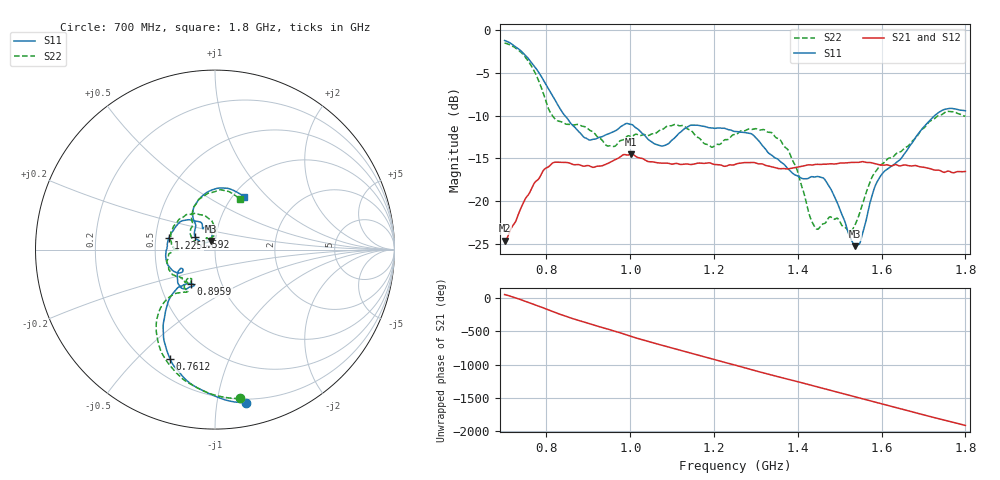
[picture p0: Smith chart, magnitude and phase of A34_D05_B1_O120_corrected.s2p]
! Created with skrf 1.9.0 (http://scikit-rf.org).
# Hz S RI R 50.0
!freq ReS11 ImS11 ReS21 ImS21 ReS12 ImS12 ReS22 ImS22
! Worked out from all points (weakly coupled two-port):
!   1601 points, 700 MHz to 1.8 GHz, reference 50 ohm
!   highest |S21| = -14.53 dB at 1.002 GHz (marker M1); lowest = -24.6 dB at 700 MHz (marker M2)
!   lowest |S11| = -25.3 dB at 1.537 GHz (marker M3), VSWR 1.12, Z = 47.4 + j4.62 ohm
!   |S11| at or under -10 dB: 843.7 MHz to 1.727 GHz (883.2 MHz wide, 68.7 % of centre)
!   |S22| runs from -23.6 to -1.5 dB; largest |S21 - S12| = 0.0034
!   S11 on the Smith chart (normalised r, x): 700 MHz: 0.17, -1.20; 761.2 MHz: 0.29, -0.63; 895.9 MHz: 0.72, -0.29; 1.225 GHz: 0.58, +0.08; 1.592 GHz: 0.79, +0.12; 1.8 GHz: 1.13, +0.75
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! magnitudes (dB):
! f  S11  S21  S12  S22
! 700 MHz  -1.2  -24.6  -24.4  -1.5
! 761.2 MHz  -3.6  -18.9  -18.8  -4.0
! 817.6 MHz  -7.9  -15.5  -15.6  -10.2
! 883.6 MHz  -12.2  -15.9  -15.8  -11.2
! 895.9 MHz  -12.7  -15.9  -16.0  -11.4
! 947.5 MHz  -12.2  -15.6  -15.6  -13.6
! 1.002 GHz  -11.0  -14.5  -14.6  -12.4
! 1.067 GHz  -13.5  -15.5  -15.5  -11.8
! 1.145 GHz  -11.1  -15.7  -15.7  -11.7
! 1.194 GHz  -11.4  -15.6  -15.6  -13.7
! 1.225 GHz  -11.5  -15.9  -15.9  -12.8
! 1.25 GHz  -11.9  -15.7  -15.7  -12.2
! 1.358 GHz  -15.4  -16.2  -16.2  -12.8
! 1.396 GHz  -17.0  -16.1  -16.1  -16.0
! 1.434 GHz  -17.1  -15.8  -15.7  -22.4
! 1.471 GHz  -18.0  -15.7  -15.7  -22.1
! 1.537 GHz  -25.3  -15.5  -15.5  -22.8
! 1.55 GHz  -24.6  -15.4  -15.4  -21.0
! 1.592 GHz  -17.5  -15.7  -15.7  -16.1
! 1.617 GHz  -16.2  -15.8  -15.8  -15.0
! 1.733 GHz  -9.7  -16.4  -16.4  -10.1
! 1.8 GHz  -9.4  -16.5  -16.5  -10.1
